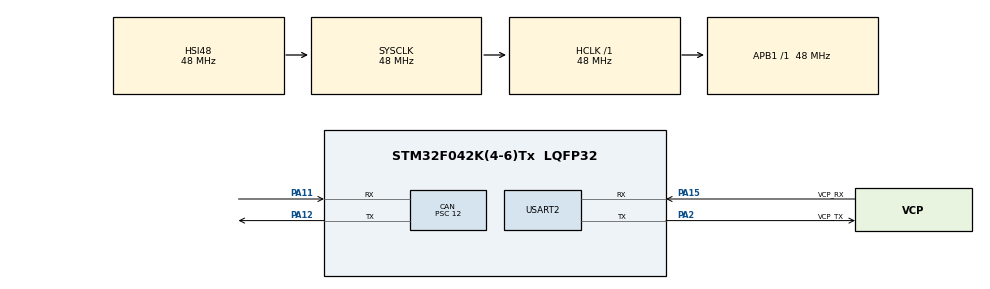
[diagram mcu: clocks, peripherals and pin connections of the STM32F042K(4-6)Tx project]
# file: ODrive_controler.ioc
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CAN.BS1=CAN_BS1_13TQ
CAN.BS2=CAN_BS2_2TQ
CAN.CalculateBaudRate=250000
CAN.CalculateTimeBit=4000
CAN.CalculateTimeQuantum=250.0
CAN.Prescaler=12
Mcu.Family=STM32F0
Mcu.Name=STM32F042K(4-6)Tx
Mcu.Package=LQFP32
PA11.Mode=CAN_Activate
PA11.Signal=CAN_RX
PA12.Mode=CAN_Activate
PA12.Signal=CAN_TX
PA13.GPIO_Label=SWDIO
PA13.Mode=Serial_Wire
PA13.Signal=SYS_SWDIO
PA14.GPIO_Label=SWCLK
PA14.Mode=Serial_Wire
PA14.Signal=SYS_SWCLK
PA15.GPIO_Label=VCP_RX
PA15.Mode=Asynchronous
PA15.Signal=USART2_RX
PA2.GPIO_Label=VCP_TX
PA2.Mode=Asynchronous
PA2.Signal=USART2_TX
PF0-OSC_IN.GPIO_Label=MCO
PF0-OSC_IN.Mode=HSE-External-Clock-Source
PF0-OSC_IN.Signal=RCC_OSC_IN
ProjectManager.HeapSize=0x200
ProjectManager.StackSize=0x400
ProjectManager.TargetToolchain=STM32CubeIDE
RCC.AHBFreq_Value=48000000
RCC.APB1Freq_Value=48000000
RCC.APB1TimFreq_Value=48000000
RCC.HCLKFreq_Value=48000000
RCC.SYSCLKFreq_VALUE=48000000
RCC.SYSCLKSource=RCC_SYSCLKSOURCE_HSI48
USART2.VirtualMode-Asynchronous=VM_ASYNC
board=NUCLEO-F042K6

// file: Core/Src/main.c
/* USER CODE BEGIN Header */
/**
  ******************************************************************************
  * @file           : main.c
  * @brief          : Main program body
  ******************************************************************************
  * @attention
  *
  * Copyright (c) 2025 STMicroelectronics.
  * All rights reserved.
  *
  * This software is licensed under terms that can be found in the LICENSE file
  * in the root directory of this software component.
  * If no LICENSE file comes with this software, it is provided AS-IS.
  *
  ******************************************************************************
  */
/* USER CODE END Header */
#include "main.h"

/* USER CODE BEGIN Includes */
#include <stdio.h>
#include <string.h>
#include <math.h>
#include "ODriveCAN.h"
#include "ODriveHAL.hpp"
/* USER CODE END Includes */

/* USER CODE BEGIN PD */
// CAN bus baudrate. Musí odpovídat nastavení v CubeIDE a na ODrive!
#define CAN_BAUDRATE 250000

// ODrive node_id pro odrv0
#define ODRV0_NODE_ID 0

// Arduino konstanta, kterou STM32 nezná
#define TWO_PI (2.0f * M_PI)
/* USER CODE END PD */

CAN_HandleTypeDef hcan;

UART_HandleTypeDef huart2;

/* USER CODE BEGIN PV */
char msg[64];
// Vytvoření STM32 HAL wrapperu pro ODrive knihovnu
// Předáme mu ukazatel na náš HAL CAN handle
ODriveHAL can_intf(&hcan);

// Instance ODrive objektů
ODriveCAN odrv0(can_intf, ODRV0_NODE_ID);
ODriveCAN* odrives[] = {&odrv0}; // Pole všech ODrive pro callback

// Struktura pro uchování stavu z ODrive
struct ODriveUserData {
    Heartbeat_msg_t last_heartbeat;
    volatile bool received_heartbeat = false;
    Get_Encoder_Estimates_msg_t last_feedback;
    volatile bool received_feedback = false;
};
//sasdaasd
ODriveUserData odrv0_user_data;
/* USER CODE END PV */

void SystemClock_Config(void);
static void MX_GPIO_Init(void);
static void MX_USART2_UART_Init(void);
static void MX_CAN_Init(void);
/* USER CODE BEGIN PFP */

/*

#ifdef __GNUC__
#define PUTCHAR_PROTOTYPE int __io_putchar(int ch)
#else
#define PUTCHAR_PROTOTYPE int fputc(int ch, FILE *f)
#endif
 */

/* USER CODE END PFP */

int main(void)
{

  /* MCU Configuration--------------------------------------------------------*/

  /* Reset of all peripherals, Initializes the Flash interface and the Systick. */
  HAL_Init();

  /* Configure the system clock */
  SystemClock_Config();

  /* Initialize all configured peripherals */
  MX_GPIO_Init();
  MX_USART2_UART_Init();
  MX_CAN_Init();
  /* USER CODE BEGIN 2 */

  sprintf(msg, "Start ODriveCAN\r\n");
  HAL_UART_Transmit(&huart2, (uint8_t*)msg, strlen(msg), 100);

  // Registrace callbacks pro heartbeat a feedback enkodéru
  odrv0.onFeedback(onFeedback, &odrv0_user_data);
  odrv0.onStatus(onHeartbeat, &odrv0_user_data);

	// Spuštění CAN periferie
	if (HAL_CAN_Start(&hcan) != HAL_OK) {
		sprintf(msg, "ERROR_HAL_CAN_1\r\n");
		HAL_UART_Transmit(&huart2, (uint8_t*)msg, strlen(msg), 100);
		Error_Handler();
	}

	// Aktivace CAN RX přerušení
	if (HAL_CAN_ActivateNotification(&hcan, CAN_IT_RX_FIFO0_MSG_PENDING) != HAL_OK) {
		sprintf(msg, "ERROR_HAL_CAN_2\r\n");
		HAL_UART_Transmit(&huart2, (uint8_t*)msg, strlen(msg), 100);
		Error_Handler();
	}

  sprintf(msg, "Wait_ODRIVE\r\n");
  HAL_UART_Transmit(&huart2, (uint8_t*)msg, strlen(msg), 100);
  while (!odrv0_user_data.received_heartbeat) {
	  HAL_Delay(100); // Čekáme na první heartbeat (přijde přes přerušení)
  }

  sprintf(msg, "ODRIVE_FIND\r\n");
  HAL_UART_Transmit(&huart2, (uint8_t*)msg, strlen(msg), 100);

  // Požadavek na napětí a proud (timeout 1000ms)
  sprintf(msg, "POKUS_CTENI\r\n");
  HAL_UART_Transmit(&huart2, (uint8_t*)msg, strlen(msg), 100);
  Get_Bus_Voltage_Current_msg_t vbus;
  if (!odrv0.request(vbus, 1000)) {
	  sprintf(msg, "ERROR_VBUS\r\n");
	  HAL_UART_Transmit(&huart2, (uint8_t*)msg, strlen(msg), 100);
	  while (true); // Zastavíme se
  }

  //printf("DC napeti [V]: %f\r\n", vbus.Bus_Voltage);
  //printf("DC proud [A]: %f\r\n", vbus.Bus_Current);

  //printf("Povolovani closed loop control...\r\n");
  //printf("Povolovani closed loop control...\r\n");
  //printf("Povolovani closed loop control...\r\n");
	while (odrv0_user_data.last_heartbeat.Axis_State != ODriveAxisState::AXIS_STATE_CLOSED_LOOP_CONTROL) {
		odrv0.clearErrors();
		HAL_Delay(1);
		odrv0.setState(ODriveAxisState::AXIS_STATE_CLOSED_LOOP_CONTROL);

		// Čekáme 150ms na potvrzení stavu (přijde v heartbeatu)
		// Není potřeba pumpEvents, přerušení běží na pozadí
		for (int i = 0; i < 15; ++i) {
			HAL_Delay(10);
		}
		sprintf(msg, "ODRIVE_STATE\r\n");
		HAL_UART_Transmit(&huart2, (uint8_t*)msg, strlen(msg), 100);
	}

  	  sprintf(msg, "ODRIVE_RUN\r\n");
  	  HAL_UART_Transmit(&huart2, (uint8_t*)msg, strlen(msg), 100);

  /* USER CODE END 2 */

  /* Infinite loop */
  while (1)
  {

    /* USER CODE BEGIN 3 */
	  float SINE_PERIOD = 2.0f; // Perioda sinusovky v sekundách

	  // Místo millis() použijeme HAL_GetTick()
	  float t = 0.001f * HAL_GetTick();

	  float phase = t * (TWO_PI / SINE_PERIOD);

	  odrv0.setPosition(
		  sin(phase), // pozice
		  cos(phase) * (TWO_PI / SINE_PERIOD) // feedforward rychlosti (volitelné)
	  );

	  // Tisk pozice a rychlosti pro Serial Plotter
	  if (odrv0_user_data.received_feedback) {
		  Get_Encoder_Estimates_msg_t feedback = odrv0_user_data.last_feedback;
		  odrv0_user_data.received_feedback = false; // Reset flagu

		  // Použijeme printf místo Serial.print
		  //printf("odrv0-pos:%f,odrv0-vel:%f\r\n", feedback.Pos_Estimate, feedback.Vel_Estimate);
	  }

	  HAL_Delay(10); // Malá pauza, aby smyčka neběžela příliš rychle

  }
  /* USER CODE END 3 */
}

void SystemClock_Config(void)
{
  RCC_OscInitTypeDef RCC_OscInitStruct = {0};
  RCC_ClkInitTypeDef RCC_ClkInitStruct = {0};

  /** Initializes the RCC Oscillators according to the specified parameters
  * in the RCC_OscInitTypeDef structure.
  */
  RCC_OscInitStruct.OscillatorType = RCC_OSCILLATORTYPE_HSI48;
  RCC_OscInitStruct.HSI48State = RCC_HSI48_ON;
  RCC_OscInitStruct.PLL.PLLState = RCC_PLL_NONE;
  if (HAL_RCC_OscConfig(&RCC_OscInitStruct) != HAL_OK)
  {
    Error_Handler();
  }

  /** Initializes the CPU, AHB and APB buses clocks
  */
  RCC_ClkInitStruct.ClockType = RCC_CLOCKTYPE_HCLK|RCC_CLOCKTYPE_SYSCLK
                              |RCC_CLOCKTYPE_PCLK1;
  RCC_ClkInitStruct.SYSCLKSource = RCC_SYSCLKSOURCE_HSI48;
  RCC_ClkInitStruct.AHBCLKDivider = RCC_SYSCLK_DIV1;
  RCC_ClkInitStruct.APB1CLKDivider = RCC_HCLK_DIV1;

  if (HAL_RCC_ClockConfig(&RCC_ClkInitStruct, FLASH_LATENCY_1) != HAL_OK)
  {
    Error_Handler();
  }
}

static void MX_CAN_Init(void)
{

  hcan.Instance = CAN;
  hcan.Init.Prescaler = 12;
  hcan.Init.Mode = CAN_MODE_NORMAL;
  hcan.Init.SyncJumpWidth = CAN_SJW_1TQ;
  hcan.Init.TimeSeg1 = CAN_BS1_13TQ;
  hcan.Init.TimeSeg2 = CAN_BS2_2TQ;
  hcan.Init.TimeTriggeredMode = DISABLE;
  hcan.Init.AutoBusOff = DISABLE;
  hcan.Init.AutoWakeUp = DISABLE;
  hcan.Init.AutoRetransmission = DISABLE;
  hcan.Init.ReceiveFifoLocked = DISABLE;
  hcan.Init.TransmitFifoPriority = DISABLE;
  if (HAL_CAN_Init(&hcan) != HAL_OK)
  {
    Error_Handler();
  }

}

static void MX_USART2_UART_Init(void)
{

  huart2.Instance = USART2;
  huart2.Init.BaudRate = 38400;
  huart2.Init.WordLength = UART_WORDLENGTH_8B;
  huart2.Init.StopBits = UART_STOPBITS_1;
  huart2.Init.Parity = UART_PARITY_NONE;
  huart2.Init.Mode = UART_MODE_TX_RX;
  huart2.Init.HwFlowCtl = UART_HWCONTROL_NONE;
  huart2.Init.OverSampling = UART_OVERSAMPLING_16;
  huart2.Init.OneBitSampling = UART_ONE_BIT_SAMPLE_DISABLE;
  huart2.AdvancedInit.AdvFeatureInit = UART_ADVFEATURE_NO_INIT;
  if (HAL_UART_Init(&huart2) != HAL_OK)
  {
    Error_Handler();
  }

}

static void MX_GPIO_Init(void)
{

  /* GPIO Ports Clock Enable */
  __HAL_RCC_GPIOF_CLK_ENABLE();
  __HAL_RCC_GPIOA_CLK_ENABLE();

}

/* USER CODE BEGIN 4 */
// Voláno pokaždé, když dorazí Heartbeat zpráva
void onHeartbeat(Heartbeat_msg_t& msg, void* user_data) {
    ODriveUserData* odrv_user_data = static_cast<ODriveUserData*>(user_data);
    odrv_user_data->last_heartbeat = msg;
    odrv_user_data->received_heartbeat = true;
}

// Voláno pokaždé, když dorazí feedback zpráva
void onFeedback(Get_Encoder_Estimates_msg_t& msg, void* user_data) {
    ODriveUserData* odrv_user_data = static_cast<ODriveUserData*>(user_data);
    odrv_user_data->last_feedback = msg;
    odrv_user_data->received_feedback = true;
}

/**
  * @brief Callback při přijetí zprávy do RX FIFO 0.
  * @param hcan Ukazatel na CAN handle.
  * @retval None
  */
void HAL_CAN_RxFifo0MsgPendingCallback(CAN_HandleTypeDef *hcan)
{
    CAN_RxHeaderTypeDef rx_header;
    uint8_t rx_data[8];

    // Přečtení zprávy z CAN bufferu
    if (HAL_CAN_GetRxMessage(hcan, CAN_RX_FIFO0, &rx_header, rx_data) != HAL_OK) {
        Error_Handler();
    }

    // Vytvoření zprávy ve formátu, kterému rozumí ODriveHAL wrapper
    ODriveHAL::CanMsg msg;
    msg.id = rx_header.StdId;
    msg.len = rx_header.DLC;
    memcpy(msg.buffer, rx_data, msg.len);

    // Zpracování zprávy ODrive knihovnou
    // Toto nahrazuje funkci onCanMessage z Arduino kódu
    for (auto odrive: odrives) {
        onReceive(msg, *odrive);
    }

    // Znovu aktivujeme notifikaci, protože přerušení se po přijetí deaktivuje
    // Toto je standardní postup pro HAL CAN přerušení
    if (HAL_CAN_ActivateNotification(hcan, CAN_IT_RX_FIFO0_MSG_PENDING) != HAL_OK) {
        Error_Handler();
    }
}

// --- Retargeting printf na UART ---

/**
  * @brief  Retargets the C library printf function to the USART.
  * @param  None
  * @retval None
  */
PUTCHAR_PROTOTYPE
{
  /* Place your implementation of fputc here */
  /* e.g. write a character to the USART2 and Loop until the end of transmission */
  HAL_UART_Transmit(&huart2, (uint8_t *)&ch, 1, 0xFFFF);
  return ch;
}

/* USER CODE END 4 */

void Error_Handler(void)
{
  __disable_irq();
  while (1)
  {
  }
}
